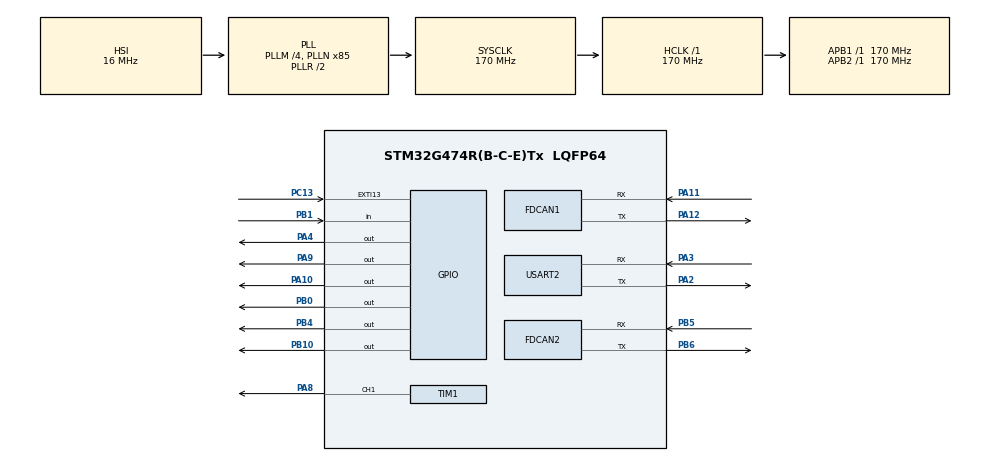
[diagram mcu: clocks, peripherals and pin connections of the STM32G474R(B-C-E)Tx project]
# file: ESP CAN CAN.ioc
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FDCAN1.AutoRetransmission=ENABLE
FDCAN1.CalculateBaudRateNominal=500000
FDCAN1.CalculateTimeBitNominal=2000
FDCAN1.CalculateTimeQuantumNominal=100.0
FDCAN1.DataPrescaler=17
FDCAN1.DataTimeSeg1=16
FDCAN1.DataTimeSeg2=3
FDCAN1.NominalPrescaler=17
FDCAN1.NominalTimeSeg1=16
FDCAN1.NominalTimeSeg2=3
FDCAN1.StdFiltersNbr=1
FDCAN2.AutoRetransmission=ENABLE
FDCAN2.CalculateBaudRateNominal=500000
FDCAN2.CalculateTimeBitNominal=2000
FDCAN2.CalculateTimeQuantumNominal=100.0
FDCAN2.DataPrescaler=17
FDCAN2.DataTimeSeg1=16
FDCAN2.DataTimeSeg2=3
FDCAN2.NominalPrescaler=17
FDCAN2.NominalTimeSeg1=16
FDCAN2.NominalTimeSeg2=3
FDCAN2.StdFiltersNbr=1
Mcu.Family=STM32G4
Mcu.Name=STM32G474R(B-C-E)Tx
Mcu.Package=LQFP64
NVIC.FDCAN2_IT0_IRQn=true\:0\:0\:false\:false\:true\:true\:true\:true
NVIC.PriorityGroup=NVIC_PRIORITYGROUP_4
PA10.Signal=GPIO_Output
PA11.Mode=FDCAN_Activate
PA11.Signal=FDCAN1_RX
PA12.Mode=FDCAN_Activate
PA12.Signal=FDCAN1_TX
PA13.Signal=SYS_JTMS-SWDIO
PA14.Signal=SYS_JTCK-SWCLK
PA2.Mode=Asynchronous
PA2.Signal=USART2_TX
PA3.Mode=Asynchronous
PA3.Signal=USART2_RX
PA4.Signal=GPIO_Output
PA8.Signal=S_TIM1_CH1
PA9.Signal=GPIO_Output
PB0.Signal=GPIO_Output
PB1.Signal=GPIO_Input
PB10.Signal=GPIO_Output
PB3.Signal=SYS_JTDO-SWO
PB4.Signal=GPIO_Output
PB5.Mode=FDCAN_Activate
PB5.Signal=FDCAN2_RX
PB6.Mode=FDCAN_Activate
PB6.Signal=FDCAN2_TX
PC13.Signal=GPXTI13
PF0-OSC_IN.Mode=HSE-External-Oscillator
PF0-OSC_IN.Signal=RCC_OSC_IN
PF1-OSC_OUT.Mode=HSE-External-Oscillator
PF1-OSC_OUT.Signal=RCC_OSC_OUT
ProjectManager.HeapSize=0x200
ProjectManager.StackSize=0x400
ProjectManager.TargetToolchain=STM32CubeIDE
RCC.ADC12Freq_Value=170000000
RCC.ADC345Freq_Value=170000000
RCC.AHBFreq_Value=170000000
RCC.APB1Freq_Value=170000000
RCC.APB1TimFreq_Value=170000000
RCC.APB2Freq_Value=170000000
RCC.APB2TimFreq_Value=170000000
RCC.CortexFreq_Value=170000000
RCC.EXTERNAL_CLOCK_VALUE=12288000
RCC.HCLKFreq_Value=170000000
RCC.HSE_VALUE=8000000
RCC.HSI48_VALUE=48000000
RCC.HSI_VALUE=16000000
RCC.LSE_VALUE=32768
RCC.PLLM=RCC_PLLM_DIV4
RCC.PLLN=85
RCC.SYSCLKFreq_VALUE=170000000
RCC.SYSCLKSource=RCC_SYSCLKSOURCE_PLLCLK
RCC.USBFreq_Value=170000000
RCC.VCOOutputFreq_Value=340000000
SH.S_TIM1_CH1.0=TIM1_CH1,PWM Generation1 CH1
TIM1.AutoReloadPreload=TIM_AUTORELOAD_PRELOAD_ENABLE
TIM1.Channel-PWM\ Generation1\ CH1=TIM_CHANNEL_1
TIM1.PeriodNoDither=100
TIM1.Prescaler=2
TIM1.PulseNoDither_1=50
USART2.VirtualMode-Asynchronous=VM_ASYNC
VP_SYS_VS_DBSignals.Mode=DisableDeadBatterySignals
VP_TIM1_VS_ClockSourceINT.Mode=Internal
board=custom

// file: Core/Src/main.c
/* USER CODE BEGIN Header */
/**
  ******************************************************************************
  * @file           : main.c
  * @brief          : Main program body for STM32G474RET6 FDCAN Inter-Communication
  * This code demonstrates communication between FDCAN1 (Tx)
  * and FDCAN2 (Rx) on a single STM32G474RET6 microcontroller
  * via external MCP2562 CAN transceivers.
  ******************************************************************************
  * @attention
  *
  * Copyright (c) 2025 STMicroelectronics.
  * All rights reserved.
  *
  * This software is licensed under terms that can be found in the LICENSE file
  * in the root directory of this software component.
  * If no LICENSE file comes with this software, it is provided AS-IS.
  *
  ******************************************************************************
  */
/* USER CODE END Header */
#include "main.h"

/* USER CODE BEGIN Includes */
#include "stdio.h" // Required for printf
#include "string.h" // Required for memset (though less used now for number data)
/* USER CODE END Includes */

/* USER CODE BEGIN PD */
// Define GPIOs for debugging LEDs (adjust these based on your CubeMX setup)
#define LD1_GPIO_Port GPIOC
#define LD1_Pin GPIO_PIN_14 // Example: User LED 1
#define LD2_GPIO_Port GPIOC
#define LD2_Pin GPIO_PIN_15 // Example: User LED 2
#define LD_ERROR_GPIO_Port GPIOA
#define LD_ERROR_Pin GPIO_PIN_5 // Example: Onboard LED (Nucleo-G474RE has PA5)
/* USER CODE END PD */

FDCAN_HandleTypeDef hfdcan1;
FDCAN_HandleTypeDef hfdcan2;

TIM_HandleTypeDef htim1;

UART_HandleTypeDef huart2;

/* USER CODE BEGIN PV */
FDCAN_TxHeaderTypeDef TxHeader; // FDCAN Transmit Header structure
FDCAN_RxHeaderTypeDef RxHeader; // FDCAN Receive Header structure

uint8_t TxData[64]; // Transmit data buffer (max 64 bytes for CAN FD)
uint8_t RxData[64]; // Receive data buffer (max 64 bytes for CAN FD)

volatile uint32_t received_message_count = 0; // Counter for successfully received messages

// New global variables for buffering received message from ISR
volatile uint8_t new_message_received_flag = 0;
FDCAN_RxHeaderTypeDef Global_RxHeader;
uint8_t Global_RxData[64];
/* USER CODE END PV */

void SystemClock_Config(void);
static void MX_GPIO_Init(void);
static void MX_FDCAN1_Init(void);
static void MX_USART2_UART_Init(void);
static void MX_FDCAN2_Init(void);
static void MX_TIM1_Init(void);
/* USER CODE BEGIN PFP */
static void FDCAN2_Filter_Config(void); // Function to configure FDCAN2's message filter
void Error_Handler(void); // Custom error handler
/* USER CODE END PFP */

/* USER CODE BEGIN 0 */

/**
  * @brief Retargets the C library printf function to the UART.
  * @param file: file pointer
  * @param ptr: pointer to data buffer
  * @param len: length of data to be sent
  * @retval int: number of bytes sent
  */
int _write(int file, char *ptr, int len)
{
    HAL_UART_Transmit(&huart2, (uint8_t*)ptr, len, HAL_MAX_DELAY);
    return len;
}

#define SIG_GPIO_Port	GPIOB
#define SIG_Pin			GPIO_PIN_1
#define MUX3_GPIO_Port	GPIOB
#define MUX3_Pin		GPIO_PIN_10
#define MUX1_GPIO_Port	GPIOA
#define MUX1_Pin		GPIO_PIN_4
#define MUX2_GPIO_Port	GPIOB
#define MUX2_Pin		GPIO_PIN_4
#define MUX0_GPIO_Port	GPIOA
#define MUX0_Pin		GPIO_PIN_10
#define DRST_GPIO_Port	GPIOB
#define DRST_Pin		GPIO_PIN_0

void SetMuxChannel(uint8_t channel) {
  HAL_GPIO_WritePin(MUX0_GPIO_Port, MUX0_Pin, (channel & 0x01) ? GPIO_PIN_SET : GPIO_PIN_RESET);
  HAL_GPIO_WritePin(MUX1_GPIO_Port, MUX1_Pin, (channel & 0x02) ? GPIO_PIN_SET : GPIO_PIN_RESET);
  HAL_GPIO_WritePin(MUX2_GPIO_Port, MUX2_Pin, (channel & 0x04) ? GPIO_PIN_SET : GPIO_PIN_RESET);
  HAL_GPIO_WritePin(MUX3_GPIO_Port, MUX3_Pin, (channel & 0x08) ? GPIO_PIN_SET : GPIO_PIN_RESET);
}

/* USER CODE END 0 */

int main(void)
{

  /* MCU Configuration--------------------------------------------------------*/

  /* Reset of all peripherals, Initializes the Flash interface and the Systick. */
  HAL_Init();

  /* Configure the system clock */
  SystemClock_Config();

  /* Initialize all configured peripherals */
  MX_GPIO_Init();
  MX_FDCAN1_Init();
  MX_USART2_UART_Init();
  MX_FDCAN2_Init();
  MX_TIM1_Init();
  /* USER CODE BEGIN 2 */

    printf("FDCAN Inter-Communication Test Started!\r\n");

    // Configure FDCAN2 filter to accept messages from FDCAN1's ID (0x123)
    // IMPORTANT: Filters must be configured AFTER HAL_FDCAN_Init() but BEFORE HAL_FDCAN_Start()
    FDCAN2_Filter_Config();
    printf("FDCAN2 Filter Configured.\r\n");

    // Start FDCAN peripherals
    if (HAL_FDCAN_Start(&hfdcan1) != HAL_OK)
    {
        printf("Error: FDCAN1 Start failed!\r\n");
        Error_Handler();
    }
    printf("FDCAN1 Started.\r\n");

    if (HAL_FDCAN_Start(&hfdcan2) != HAL_OK)
    {
        printf("Error: FDCAN2 Start failed!\r\n");
        Error_Handler();
    }
    printf("FDCAN2 Started.\r\n");

    // Activate FDCAN2 Rx FIFO 0 New Message Interrupt
    if (HAL_FDCAN_ActivateNotification(&hfdcan2, FDCAN_IT_RX_FIFO0_NEW_MESSAGE, 0) != HAL_OK)
    {
        printf("Error: FDCAN2 Rx FIFO 0 Notification Activation failed!\r\n");
        Error_Handler();
    }
    printf("FDCAN2 Rx FIFO 0 Notification Activated.\r\n");

    // --- Prepare Tx Header for FDCAN1 ---
    TxHeader.Identifier = 0x123;           // Standard ID for FDCAN1 messages
    TxHeader.IdType = FDCAN_STANDARD_ID;   // 11-bit ID
    TxHeader.TxFrameType = FDCAN_DATA_FRAME; // Data Frame
    // Set DataLength back to 8 bytes for numerical data
    TxHeader.DataLength = FDCAN_DLC_BYTES_8;
    TxHeader.BitRateSwitch = FDCAN_BRS_ON; // Enable Bit Rate Switching for data phase
    TxHeader.FDFormat = FDCAN_FD_CAN;     // CAN FD format
    TxHeader.TxEventFifoControl = FDCAN_STORE_TX_EVENTS; // Optional: Store Tx events
    TxHeader.MessageMarker = 0;            // Optional: Message marker

    // Initialize TxData[0] for incrementing number
    TxData[0] = 0;
    // Clear the rest of the TxData buffer to ensure clean transmission
    memset(&TxData[1], 0, sizeof(TxData) - 1);
    printf("FDCAN1 Tx Header and initial Data prepared with a number.\r\n");

    HAL_TIM_PWM_Start(&htim1, TIM_CHANNEL_1);
    HAL_GPIO_WritePin(DRST_GPIO_Port, DRST_Pin, GPIO_PIN_RESET);
  /* USER CODE END 2 */

  /* Infinite loop */
  /* USER CODE BEGIN WHILE */
    while (1)
    {
        // --- Transmit message from FDCAN1 ---
        if (HAL_FDCAN_AddMessageToTxFifoQ(&hfdcan1, &TxHeader, TxData) != HAL_OK)
        {
            printf("Error: FDCAN1 Message Transmission failed!\r\n");
            // Check FDCAN error status registers for more details if this error persists
            // For example, you can check hfdcan1.ErrorCode or FDCAN1->PSR (Protocol Status Register)
            Error_Handler();
        }
        else
        {
            // Print the first byte of data for confirmation
            printf("FDCAN1 Transmitted ID: 0x%X, Data[0]: %d\r\n", (unsigned int)TxHeader.Identifier, TxData[0]);
        }

        // Increment first byte of TxData for next transmission to show change
        TxData[0]++;
        if (TxData[0] > 0xFF) TxData[0] = 0; // Wrap around

        // --- Process Received Message in main loop (from ISR) ---
        if (new_message_received_flag == 1)
        {
            printf("FDCAN2 Received Message #%lu:\r\n", received_message_count);
            printf("  ID: 0x%X, DLC: %d, FDFormat: %s, BRS: %s\r\n",
                   (unsigned int)Global_RxHeader.Identifier,
                   (int)Global_RxHeader.DataLength,
                   (Global_RxHeader.FDFormat == FDCAN_FD_CAN) ? "CAN FD" : "Classic CAN",
                   (Global_RxHeader.BitRateSwitch == FDCAN_BRS_ON) ? "ON" : "OFF");
            // Print received data[0] as an integer
            printf("  Data[0]: %d\r\n", Global_RxData[0]);

            // Example: Toggle an LED based on the received data (e.g., if the first byte is even)
            if (Global_RxData[0] % 2 == 0)
            {
                HAL_GPIO_TogglePin(LD1_GPIO_Port, LD1_Pin); // Toggle LD1 for even data[0]
            }
            else
            {
                HAL_GPIO_TogglePin(LD2_GPIO_Port, LD2_Pin); // Toggle LD2 for odd data[0]
            }

            new_message_received_flag = 0; // Clear the flag after processing
        }

        // Small delay between transmissions
        //HAL_Delay(500); // Transmit every 500ms

    /* USER CODE END WHILE */

    /* USER CODE BEGIN 3 */
        SetMuxChannel(6);

        	GPIO_PinState data = HAL_GPIO_ReadPin(SIG_GPIO_Port, SIG_Pin);

        	if (data == GPIO_PIN_SET){

        		HAL_GPIO_WritePin(GPIOA, GPIO_PIN_9, GPIO_PIN_SET);
        		HAL_Delay(2500);
        		HAL_GPIO_WritePin(DRST_GPIO_Port, DRST_Pin, GPIO_PIN_SET);
        		HAL_Delay(2500);
        		HAL_GPIO_WritePin(GPIOA, GPIO_PIN_9, GPIO_PIN_RESET);
        		HAL_GPIO_WritePin(DRST_GPIO_Port, DRST_Pin, GPIO_PIN_RESET);
        	}
    }
  /* USER CODE END 3 */
}

void SystemClock_Config(void)
{
  RCC_OscInitTypeDef RCC_OscInitStruct = {0};
  RCC_ClkInitTypeDef RCC_ClkInitStruct = {0};

  /** Configure the main internal regulator output voltage
  */
  HAL_PWREx_ControlVoltageScaling(PWR_REGULATOR_VOLTAGE_SCALE1_BOOST);

  /** Initializes the RCC Oscillators according to the specified parameters
  * in the RCC_OscInitTypeDef structure.
  */
  RCC_OscInitStruct.OscillatorType = RCC_OSCILLATORTYPE_HSI;
  RCC_OscInitStruct.HSIState = RCC_HSI_ON;
  RCC_OscInitStruct.HSICalibrationValue = RCC_HSICALIBRATION_DEFAULT;
  RCC_OscInitStruct.PLL.PLLState = RCC_PLL_ON;
  RCC_OscInitStruct.PLL.PLLSource = RCC_PLLSOURCE_HSI;
  RCC_OscInitStruct.PLL.PLLM = RCC_PLLM_DIV4;
  RCC_OscInitStruct.PLL.PLLN = 85;
  RCC_OscInitStruct.PLL.PLLP = RCC_PLLP_DIV2;
  RCC_OscInitStruct.PLL.PLLQ = RCC_PLLQ_DIV2;
  RCC_OscInitStruct.PLL.PLLR = RCC_PLLR_DIV2;
  if (HAL_RCC_OscConfig(&RCC_OscInitStruct) != HAL_OK)
  {
    Error_Handler();
  }

  /** Initializes the CPU, AHB and APB buses clocks
  */
  RCC_ClkInitStruct.ClockType = RCC_CLOCKTYPE_HCLK|RCC_CLOCKTYPE_SYSCLK
                              |RCC_CLOCKTYPE_PCLK1|RCC_CLOCKTYPE_PCLK2;
  RCC_ClkInitStruct.SYSCLKSource = RCC_SYSCLKSOURCE_PLLCLK;
  RCC_ClkInitStruct.AHBCLKDivider = RCC_SYSCLK_DIV1;
  RCC_ClkInitStruct.APB1CLKDivider = RCC_HCLK_DIV1;
  RCC_ClkInitStruct.APB2CLKDivider = RCC_HCLK_DIV1;

  if (HAL_RCC_ClockConfig(&RCC_ClkInitStruct, FLASH_LATENCY_4) != HAL_OK)
  {
    Error_Handler();
  }
}

static void MX_FDCAN1_Init(void)
{

  hfdcan1.Instance = FDCAN1;
  hfdcan1.Init.ClockDivider = FDCAN_CLOCK_DIV1;
  hfdcan1.Init.FrameFormat = FDCAN_FRAME_CLASSIC;
  hfdcan1.Init.Mode = FDCAN_MODE_NORMAL;
  hfdcan1.Init.AutoRetransmission = ENABLE;
  hfdcan1.Init.TransmitPause = DISABLE;
  hfdcan1.Init.ProtocolException = DISABLE;
  hfdcan1.Init.NominalPrescaler = 17;
  hfdcan1.Init.NominalSyncJumpWidth = 1;
  hfdcan1.Init.NominalTimeSeg1 = 16;
  hfdcan1.Init.NominalTimeSeg2 = 3;
  hfdcan1.Init.DataPrescaler = 17;
  hfdcan1.Init.DataSyncJumpWidth = 1;
  hfdcan1.Init.DataTimeSeg1 = 16;
  hfdcan1.Init.DataTimeSeg2 = 3;
  hfdcan1.Init.StdFiltersNbr = 1;
  hfdcan1.Init.ExtFiltersNbr = 0;
  hfdcan1.Init.TxFifoQueueMode = FDCAN_TX_FIFO_OPERATION;
  if (HAL_FDCAN_Init(&hfdcan1) != HAL_OK)
  {
    Error_Handler();
  }
  /* USER CODE BEGIN FDCAN1_Init 2 */
  // Configure Transceiver Delay Compensation (TDC) for FDCAN1
  // TdcOffset = 5, TdcFilter = 0 are typical values for high data rates as per ST examples
  if (HAL_FDCAN_ConfigTxDelayCompensation(&hfdcan1, 5, 0) != HAL_OK)
  {
      Error_Handler();
  }
  // Enable TDC
  if (HAL_FDCAN_EnableTxDelayCompensation(&hfdcan1) != HAL_OK)
  {
      Error_Handler();
  }
  /* USER CODE END FDCAN1_Init 2 */

}

static void MX_FDCAN2_Init(void)
{

  hfdcan2.Instance = FDCAN2;
  hfdcan2.Init.ClockDivider = FDCAN_CLOCK_DIV1;
  hfdcan2.Init.FrameFormat = FDCAN_FRAME_CLASSIC;
  hfdcan2.Init.Mode = FDCAN_MODE_NORMAL;
  hfdcan2.Init.AutoRetransmission = ENABLE;
  hfdcan2.Init.TransmitPause = DISABLE;
  hfdcan2.Init.ProtocolException = DISABLE;
  hfdcan2.Init.NominalPrescaler = 17;
  hfdcan2.Init.NominalSyncJumpWidth = 1;
  hfdcan2.Init.NominalTimeSeg1 = 16;
  hfdcan2.Init.NominalTimeSeg2 = 3;
  hfdcan2.Init.DataPrescaler = 17;
  hfdcan2.Init.DataSyncJumpWidth = 1;
  hfdcan2.Init.DataTimeSeg1 = 16;
  hfdcan2.Init.DataTimeSeg2 = 3;
  hfdcan2.Init.StdFiltersNbr = 1;
  hfdcan2.Init.ExtFiltersNbr = 0;
  hfdcan2.Init.TxFifoQueueMode = FDCAN_TX_FIFO_OPERATION;
  if (HAL_FDCAN_Init(&hfdcan2) != HAL_OK)
  {
    Error_Handler();
  }
  /* USER CODE BEGIN FDCAN2_Init 2 */
  // Configure Transceiver Delay Compensation (TDC) for FDCAN2
  if (HAL_FDCAN_ConfigTxDelayCompensation(&hfdcan2, 5, 0) != HAL_OK)
  {
      Error_Handler();
  }
  // Enable TDC
  if (HAL_FDCAN_EnableTxDelayCompensation(&hfdcan2) != HAL_OK)
  {
      Error_Handler();
  }
  /* USER CODE END FDCAN2_Init 2 */

}

static void MX_TIM1_Init(void)
{

  TIM_ClockConfigTypeDef sClockSourceConfig = {0};
  TIM_MasterConfigTypeDef sMasterConfig = {0};
  TIM_OC_InitTypeDef sConfigOC = {0};
  TIM_BreakDeadTimeConfigTypeDef sBreakDeadTimeConfig = {0};

  htim1.Instance = TIM1;
  htim1.Init.Prescaler = 2;
  htim1.Init.CounterMode = TIM_COUNTERMODE_UP;
  htim1.Init.Period = 100;
  htim1.Init.ClockDivision = TIM_CLOCKDIVISION_DIV1;
  htim1.Init.RepetitionCounter = 0;
  htim1.Init.AutoReloadPreload = TIM_AUTORELOAD_PRELOAD_ENABLE;
  if (HAL_TIM_Base_Init(&htim1) != HAL_OK)
  {
    Error_Handler();
  }
  sClockSourceConfig.ClockSource = TIM_CLOCKSOURCE_INTERNAL;
  if (HAL_TIM_ConfigClockSource(&htim1, &sClockSourceConfig) != HAL_OK)
  {
    Error_Handler();
  }
  if (HAL_TIM_PWM_Init(&htim1) != HAL_OK)
  {
    Error_Handler();
  }
  sMasterConfig.MasterOutputTrigger = TIM_TRGO_RESET;
  sMasterConfig.MasterOutputTrigger2 = TIM_TRGO2_RESET;
  sMasterConfig.MasterSlaveMode = TIM_MASTERSLAVEMODE_DISABLE;
  if (HAL_TIMEx_MasterConfigSynchronization(&htim1, &sMasterConfig) != HAL_OK)
  {
    Error_Handler();
  }
  sConfigOC.OCMode = TIM_OCMODE_PWM1;
  sConfigOC.Pulse = 50;
  sConfigOC.OCPolarity = TIM_OCPOLARITY_HIGH;
  sConfigOC.OCNPolarity = TIM_OCNPOLARITY_HIGH;
  sConfigOC.OCFastMode = TIM_OCFAST_DISABLE;
  sConfigOC.OCIdleState = TIM_OCIDLESTATE_RESET;
  sConfigOC.OCNIdleState = TIM_OCNIDLESTATE_RESET;
  if (HAL_TIM_PWM_ConfigChannel(&htim1, &sConfigOC, TIM_CHANNEL_1) != HAL_OK)
  {
    Error_Handler();
  }
  sBreakDeadTimeConfig.OffStateRunMode = TIM_OSSR_DISABLE;
  sBreakDeadTimeConfig.OffStateIDLEMode = TIM_OSSI_DISABLE;
  sBreakDeadTimeConfig.LockLevel = TIM_LOCKLEVEL_OFF;
  sBreakDeadTimeConfig.DeadTime = 0;
  sBreakDeadTimeConfig.BreakState = TIM_BREAK_DISABLE;
  sBreakDeadTimeConfig.BreakPolarity = TIM_BREAKPOLARITY_HIGH;
  sBreakDeadTimeConfig.BreakFilter = 0;
  sBreakDeadTimeConfig.BreakAFMode = TIM_BREAK_AFMODE_INPUT;
  sBreakDeadTimeConfig.Break2State = TIM_BREAK2_DISABLE;
  sBreakDeadTimeConfig.Break2Polarity = TIM_BREAK2POLARITY_HIGH;
  sBreakDeadTimeConfig.Break2Filter = 0;
  sBreakDeadTimeConfig.Break2AFMode = TIM_BREAK_AFMODE_INPUT;
  sBreakDeadTimeConfig.AutomaticOutput = TIM_AUTOMATICOUTPUT_DISABLE;
  if (HAL_TIMEx_ConfigBreakDeadTime(&htim1, &sBreakDeadTimeConfig) != HAL_OK)
  {
    Error_Handler();
  }
  HAL_TIM_MspPostInit(&htim1);

}

static void MX_USART2_UART_Init(void)
{

  huart2.Instance = USART2;
  huart2.Init.BaudRate = 115200;
  huart2.Init.WordLength = UART_WORDLENGTH_8B;
  huart2.Init.StopBits = UART_STOPBITS_1;
  huart2.Init.Parity = UART_PARITY_NONE;
  huart2.Init.Mode = UART_MODE_TX_RX;
  huart2.Init.HwFlowCtl = UART_HWCONTROL_NONE;
  huart2.Init.OverSampling = UART_OVERSAMPLING_16;
  huart2.Init.OneBitSampling = UART_ONE_BIT_SAMPLE_DISABLE;
  huart2.Init.ClockPrescaler = UART_PRESCALER_DIV1;
  huart2.AdvancedInit.AdvFeatureInit = UART_ADVFEATURE_NO_INIT;
  if (HAL_UART_Init(&huart2) != HAL_OK)
  {
    Error_Handler();
  }
  if (HAL_UARTEx_SetTxFifoThreshold(&huart2, UART_TXFIFO_THRESHOLD_1_8) != HAL_OK)
  {
    Error_Handler();
  }
  if (HAL_UARTEx_SetRxFifoThreshold(&huart2, UART_RXFIFO_THRESHOLD_1_8) != HAL_OK)
  {
    Error_Handler();
  }
  if (HAL_UARTEx_DisableFifoMode(&huart2) != HAL_OK)
  {
    Error_Handler();
  }

}

static void MX_GPIO_Init(void)
{
  GPIO_InitTypeDef GPIO_InitStruct = {0};
  /* USER CODE BEGIN MX_GPIO_Init_1 */
  /* Enable clocks for LED GPIOs */
  __HAL_RCC_GPIOC_CLK_ENABLE(); // For LD1_Pin, LD2_Pin
  __HAL_RCC_GPIOA_CLK_ENABLE(); // For LD_ERROR_Pin
  /* USER CODE END MX_GPIO_Init_1 */

  /* GPIO Ports Clock Enable */
  __HAL_RCC_GPIOC_CLK_ENABLE();
  __HAL_RCC_GPIOF_CLK_ENABLE();
  __HAL_RCC_GPIOA_CLK_ENABLE();
  __HAL_RCC_GPIOB_CLK_ENABLE();

  /*Configure GPIO pin Output Level */
  HAL_GPIO_WritePin(GPIOA, GPIO_PIN_4|GPIO_PIN_9|GPIO_PIN_10, GPIO_PIN_RESET);

  /*Configure GPIO pin Output Level */
  HAL_GPIO_WritePin(GPIOB, GPIO_PIN_0|GPIO_PIN_10|GPIO_PIN_4, GPIO_PIN_RESET);

  /*Configure GPIO pin : PC13 */
  GPIO_InitStruct.Pin = GPIO_PIN_13;
  GPIO_InitStruct.Mode = GPIO_MODE_IT_RISING;
  GPIO_InitStruct.Pull = GPIO_NOPULL;
  HAL_GPIO_Init(GPIOC, &GPIO_InitStruct);

  /*Configure GPIO pins : PA4 PA9 PA10 */
  GPIO_InitStruct.Pin = GPIO_PIN_4|GPIO_PIN_9|GPIO_PIN_10;
  GPIO_InitStruct.Mode = GPIO_MODE_OUTPUT_PP;
  GPIO_InitStruct.Pull = GPIO_NOPULL;
  GPIO_InitStruct.Speed = GPIO_SPEED_FREQ_LOW;
  HAL_GPIO_Init(GPIOA, &GPIO_InitStruct);

  /*Configure GPIO pins : PB0 PB10 PB4 */
  GPIO_InitStruct.Pin = GPIO_PIN_0|GPIO_PIN_10|GPIO_PIN_4;
  GPIO_InitStruct.Mode = GPIO_MODE_OUTPUT_PP;
  GPIO_InitStruct.Pull = GPIO_NOPULL;
  GPIO_InitStruct.Speed = GPIO_SPEED_FREQ_LOW;
  HAL_GPIO_Init(GPIOB, &GPIO_InitStruct);

  /*Configure GPIO pin : PB1 */
  GPIO_InitStruct.Pin = GPIO_PIN_1;
  GPIO_InitStruct.Mode = GPIO_MODE_INPUT;
  GPIO_InitStruct.Pull = GPIO_NOPULL;
  HAL_GPIO_Init(GPIOB, &GPIO_InitStruct);

  /* USER CODE BEGIN MX_GPIO_Init_2 */
  // Configure LD1_Pin (PC14) and LD2_Pin (PC15) as Output
  GPIO_InitStruct.Pin = LD1_Pin | LD2_Pin;
  GPIO_InitStruct.Mode = GPIO_MODE_OUTPUT_PP;
  GPIO_InitStruct.Pull = GPIO_NOPULL;
  GPIO_InitStruct.Speed = GPIO_SPEED_FREQ_LOW;
  HAL_GPIO_Init(LD1_GPIO_Port, &GPIO_InitStruct);

  // Configure LD_ERROR_Pin (PA5) as Output
  GPIO_InitStruct.Pin = LD_ERROR_Pin;
  GPIO_InitStruct.Mode = GPIO_MODE_OUTPUT_PP;
  GPIO_InitStruct.Pull = GPIO_NOPULL;
  GPIO_InitStruct.Speed = GPIO_SPEED_FREQ_LOW;
  HAL_GPIO_Init(LD_ERROR_GPIO_Port, &GPIO_InitStruct);
  /* USER CODE END MX_GPIO_Init_2 */
}

/* USER CODE BEGIN 4 */

/**
  * @brief Configures the FDCAN2 message filter.
  * This filter is set to accept standard ID 0x123.
  * @param None
  * @retval None
  */
static void FDCAN2_Filter_Config(void)
{
    FDCAN_FilterTypeDef sFilterConfig;

    sFilterConfig.IdType = FDCAN_STANDARD_ID;             // Filter for 11-bit standard IDs
    sFilterConfig.FilterIndex = 0;                        // Use the first filter element
    sFilterConfig.FilterType = FDCAN_FILTER_MASK;         // Mask filter mode
    sFilterConfig.FilterConfig = FDCAN_FILTER_TO_RXFIFO0; // Route accepted messages to Rx FIFO 0
    sFilterConfig.FilterID1 = 0x123;                      // Filter ID: accept messages with ID 0x123
    sFilterConfig.FilterID2 = 0x7FF;                      // Filter Mask: all bits must match (0x7FF for standard ID)

    // Configure FDCAN2 filter
    if (HAL_FDCAN_ConfigFilter(&hfdcan2, &sFilterConfig) != HAL_OK)
    {
        printf("Error: FDCAN2 Filter Configuration failed!\r\n");
        Error_Handler();
    }

    // Configure global filter to accept all non-matching standard/extended messages into Rx FIFO 0/1,
    // and reject remote frames.
    if (HAL_FDCAN_ConfigGlobalFilter(&hfdcan2, FDCAN_ACCEPT_IN_RX_FIFO0, FDCAN_ACCEPT_IN_RX_FIFO1, FDCAN_REJECT_REMOTE, FDCAN_REJECT_REMOTE) != HAL_OK)
    {
        printf("Error: FDCAN2 Global Filter Configuration failed!\r\n");
        Error_Handler();
    }
}

/**
  * @brief  Rx FIFO 0 Callback Function.
  * This function is called when a new message is received in Rx FIFO 0.
  * @param  hfdcan: FDCAN handle
  * @param  RxFifo0ITs: RxFifo0 Interrupt flags
  * @retval None
  */
void HAL_FDCAN_RxFifo0Callback(FDCAN_HandleTypeDef *hfdcan, uint32_t RxFifo0ITs)
{
    // Check if the interrupt is for a new message in Rx FIFO 0
    if ((RxFifo0ITs & FDCAN_IT_RX_FIFO0_NEW_MESSAGE) != RESET)
    {
        // Ensure this callback is for FDCAN2
        if (hfdcan->Instance == FDCAN2)
        {
            // Retrieve message from Rx FIFO 0
            // Store it in global variables to be processed in the main loop
            if (HAL_FDCAN_GetRxMessage(hfdcan, FDCAN_RX_FIFO0, &Global_RxHeader, Global_RxData) != HAL_OK)
            {
                // In an ISR, avoid printf. Just set error flag or toggle LED if critical.
                Error_Handler(); // Keep this for now, but ideally this would be a very minimal error indication.
            }
            else
            {
                received_message_count++; // Increment counter
                new_message_received_flag = 1; // Set flag to process in main loop
            }

            // Re-activate the notification for the next message
            if (HAL_FDCAN_ActivateNotification(hfdcan, FDCAN_IT_RX_FIFO0_NEW_MESSAGE, 0) != HAL_OK)
            {
                Error_Handler(); // Again, ideally very minimal in ISR.
            }
        }
    }
}

/* USER CODE END 4 */

void Error_Handler(void)
{
  /* USER CODE BEGIN Error_Handler_Debug */
  /* User can add his own implementation to report the HAL error return state */
  printf("!!! An Error Occurred !!!\r\n");
  __disable_irq();
  while (1)
  {
    // Blink an error LED indefinitely
    HAL_GPIO_TogglePin(LD_ERROR_GPIO_Port, LD_ERROR_Pin);
    HAL_Delay(200);
  }
  /* USER CODE END Error_Handler_Debug */
}

#ifdef  USE_FULL_ASSERT
/**
  * @brief  Reports the name of the source file and the source line number
  *         where the assert_param error has occurred.
  * @param  file: pointer to the source file name
  * @param  line: assert_param error line source number
  * @retval None
  */
void assert_failed(uint8_t *file, uint32_t line)
{
  /* USER CODE BEGIN 6 */
  /* User can add his own implementation to report the file name and line number,
     ex: printf("Wrong parameters value: file %s on line %d\r\n", file, line) */
  printf("Wrong parameters value: file %s on line %lu\r\n", file, line);
  /* USER CODE END 6 */
}
#endif /* USE_FULL_ASSERT */
